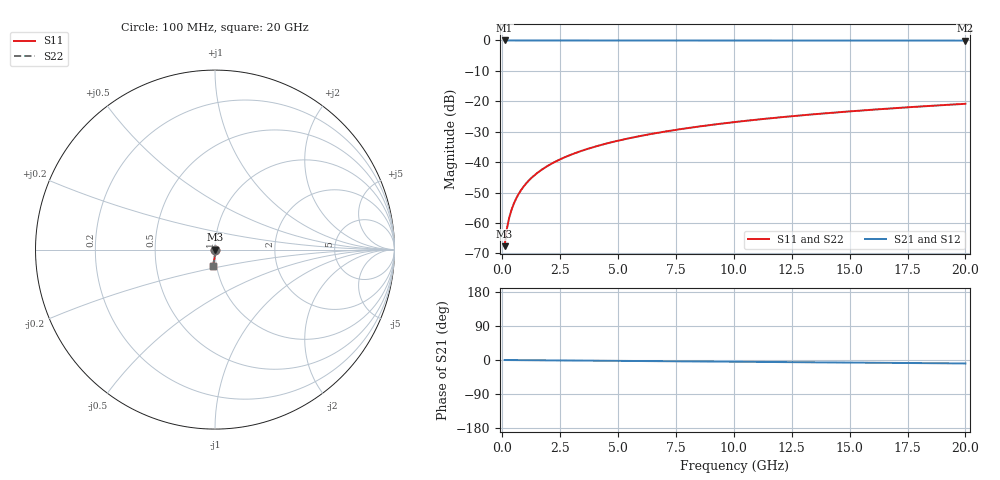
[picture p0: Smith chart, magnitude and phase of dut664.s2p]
! Touchstone file exported from HFSS 2026.1.0
!  File:  C:/ffzhzh/LocalFiles/Ansys_Project_Files/temp_train_TSV_664_1783026963_4048.aedt
!  Generated:  05:17:38 AM Jul  3, 2026
!  Design:  TSV
!  Project:  temp_train_TSV_664_1783026963_4048
! Variables:
!  h_bsmrdl = 2um
!  h_ox = 20um
!  h_rdl = 5um
!  h_sub = 79.61um
!  h_tmrdl = 5um
!  h_tsv = 79.61um
!  h_via = 3um
!  l_bsmrdl = 300um
!  l_sub = 423.02um
!  l_tmrdl = 200um
!  m_sub = 200um
!  pitch = 28.76um
!  r_tsv = 11.51um
!  s_tmrdl = 10um
!  w_bsmrdl = 18um
!  w_sub = 500um
!  w_tmrdl = 12um
!  x_tsv_center1 = 206um
!  x_tsv_center2 = 524um
!  x_tsv_center3 = 736um
!  x_tsv_center4 = 1054um
!  x_tsv_center5 = 1266um
!  x_tsv_center6 = 1584um
# GHz S MA R 50.000000
! Terminal data exported
! Port[1] = TSV1_1_T1
! Port[2] = TSV1_1_T2
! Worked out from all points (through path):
!   200 points, 100 MHz to 20 GHz, reference 50 ohm
!   highest |S21| = 0.00 dB at 100 MHz (marker M1); lowest = 0.0 dB at 20 GHz (marker M2)
!   group delay of S21, straight-line fit = 1.26 ps
!   lowest |S11| = -67.6 dB at 100 MHz (marker M3), VSWR 1.00, Z = 50 - j0.04 ohm
!   |S11| at or under -10 dB: start of sweep to end of sweep
!   |S22| runs from -67.6 to -20.8 dB; largest |S21 - S12| = 3.4e-15
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0.1  0.0004167 -73.6  0.9999 -0.0  0.9999 -0.0  0.0004167 -73.6
! Gamma 0 0 0 0
! Port Impedance 50 0 50 0
0.2  0.0008165 -80.4  0.9999 -0.1  0.9999 -0.1  0.0008165 -80.4
0.3  0.001231 -82.4  0.9998 -0.1  0.9998 -0.1  0.001231 -82.4
0.4  0.001656 -83.3  0.9998 -0.2  0.9998 -0.2  0.001656 -83.3
0.5  0.002091 -83.9  0.9998 -0.2  0.9998 -0.2  0.002091 -83.9
0.7  0.002979 -84.7  0.9997 -0.3  0.9997 -0.3  0.002979 -84.7
0.8  0.00343 -85.1  0.9997 -0.4  0.9997 -0.4  0.00343 -85.1
1  0.004335 -85.7  0.9996 -0.5  0.9996 -0.5  0.004335 -85.7
1.2  0.005243 -86.3  0.9996 -0.6  0.9996 -0.6  0.005243 -86.3
1.4  0.006152 -86.8  0.9996 -0.7  0.9996 -0.7  0.006152 -86.8
1.7  0.007515 -87.4  0.9995 -0.8  0.9995 -0.8  0.007515 -87.4
2  0.008877 -87.8  0.9995 -0.9  0.9995 -0.9  0.008877 -87.8
2.7  0.01205 -88.7  0.9994 -1.2  0.9994 -1.2  0.01205 -88.7
3.5  0.01569 -89.4  0.9993 -1.6  0.9993 -1.6  0.01569 -89.4
4.2  0.01888 -89.9  0.9991 -1.9  0.9991 -1.9  0.01888 -89.9
5  0.02253 -90.4  0.999 -2.3  0.999 -2.3  0.02253 -90.4
6.8  0.03078 -91.5  0.9986 -3.1  0.9986 -3.1  0.03078 -91.5
8.3  0.03765 -92.3  0.9983 -3.8  0.9983 -3.8  0.03765 -92.3
10.1  0.0459 -93.3  0.9979 -4.6  0.9979 -4.6  0.0459 -93.3
13.4  0.061 -94.9  0.9969 -6.1  0.9969 -6.1  0.061 -94.9
16.7  0.07605 -96.5  0.9957 -7.6  0.9957 -7.6  0.07605 -96.5
20  0.09103 -98.1  0.9943 -9.1  0.9943 -9.1  0.09103 -98.1
